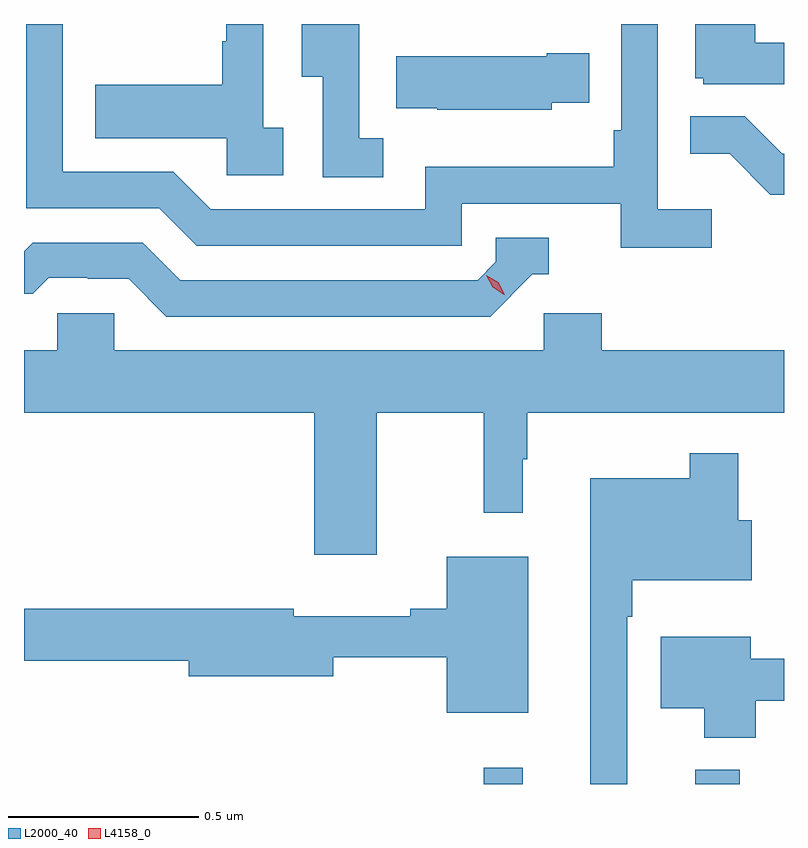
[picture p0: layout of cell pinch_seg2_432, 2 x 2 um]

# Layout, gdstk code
import gdstk
lib = gdstk.Library(unit=1e-6, precision=1e-09)
def R(c, l, rs):  # rectangles x0, y0, x1, y1
    for r in rs: c.add(gdstk.rectangle(r[:2], r[2:], *l))
def P(c, l, *ps):  # polygons
    for p in ps: c.add(gdstk.Polygon(p, *l))
L2000_40 = (2000, 40)
L4158_0 = (4158, 0)

pinch_seg2_432 = lib.new_cell('pinch_seg2_432')
R(pinch_seg2_432, L2000_40, [(944.674,612.027,944.777,612.07), (945.23,612.027,945.347,612.064)])
P(pinch_seg2_432, L2000_40, [(944.41,613.727),(944.346,613.727),(944.346,614.027),(944.195,614.027),(944.195,613.888),(944.25,613.888),(944.25,613.624),(944.41,613.624)],
  [(944.146,613.754),(944.094,613.754),(944.094,614.027),(943.996,614.027),(943.996,613.982),(943.986,613.982),(943.986,613.867),(943.651,613.867),(943.651,613.727),(943.998,613.727),(943.998,613.629),(944.146,613.629)],
  [(945.464,613.978),(945.388,613.978),(945.388,614.027),(945.23,614.027),(945.23,613.884),(945.252,613.884),(945.252,613.869),(945.464,613.869)],
  [(945.274,613.54),(945.132,613.54),(945.132,614.027),(945.036,614.027),(945.036,613.747),(945.016,613.747),(945.016,613.651),(944.52,613.651),(944.52,613.539),(943.956,613.539),(943.857,613.638),(943.566,613.638),(943.566,614.027),(943.47,614.027),(943.47,613.542),(943.82,613.542),(943.919,613.443),(944.616,613.443),(944.616,613.554),(945.035,613.554),(945.035,613.438),(945.274,613.438)],
  [(944.853,613.82),(944.951,613.82),(944.951,613.95),(944.84,613.95),(944.84,613.942),(944.443,613.942),(944.443,613.805),(944.551,613.805),(944.551,613.802),(944.853,613.802)],
  [(945.464,613.686),(945.459,613.686),(945.361,613.784),(945.217,613.784),(945.217,613.685),(945.321,613.685),(945.428,613.578),(945.464,613.578)],
  [(944.802,613.368),(944.845,613.368),(944.845,613.464),(944.706,613.464),(944.706,613.401),(944.658,613.353),(943.875,613.353),(943.776,613.452),(943.487,613.452),(943.464,613.429),(943.464,613.317),(943.487,613.317),(943.529,613.359),(943.632,613.359),(943.632,613.356),(943.739,613.356),(943.838,613.257),(944.691,613.257)],
  [(944.392,613.004),(944.674,613.004),(944.674,612.741),(944.776,612.741),(944.776,612.881),(944.788,612.881),(944.788,613.004),(945.464,613.004),(945.464,613.168),(944.984,613.168),(944.984,613.266),(944.832,613.266),(944.832,613.168),(943.701,613.168),(943.701,613.266),(943.551,613.266),(943.551,613.168),(943.464,613.168),(943.464,613.004),(944.228,613.004),(944.228,612.63),(944.392,612.63)],
  [(945.051,612.467),(945.064,612.467),(945.064,612.563),(945.379,612.563),(945.379,612.721),(945.344,612.721),(945.344,612.898),(945.216,612.898),(945.216,612.832),(944.954,612.832),(944.954,612.027),(945.051,612.027)],
  [(944.791,612.625),(944.576,612.625),(944.576,612.488),(944.48,612.488),(944.48,612.469),(944.174,612.469),(944.174,612.488),(943.464,612.488),(943.464,612.352),(943.898,612.352),(943.898,612.31),(944.278,612.31),(944.278,612.36),(944.576,612.36),(944.576,612.215),(944.791,612.215)],
  [(945.389,612.246),(945.464,612.246),(945.464,612.356),(945.376,612.356),(945.376,612.415),(945.14,612.415),(945.14,612.227),(945.254,612.227),(945.254,612.149),(945.389,612.149)])
P(pinch_seg2_432, L4158_0, [(944.728,613.314),(944.697,613.334),(944.681,613.366),(944.681,613.366),(944.681,613.366),(944.712,613.347),(944.729,613.315),(944.729,613.314)])

lib.write_gds('pinch_seg2_432.gds')
